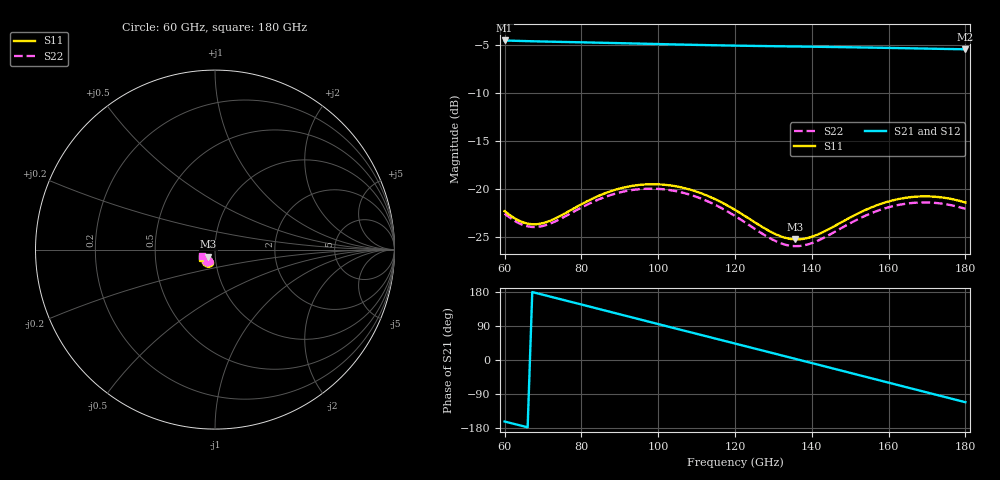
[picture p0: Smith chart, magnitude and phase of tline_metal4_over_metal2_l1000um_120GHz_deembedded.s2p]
! Created with skrf 2.0.1 (http://scikit-rf.org).
# GHz S DB R 50.0
!freq dBS11 angS11 dBS21 angS21 dBS12 angS12 dBS22 angS22
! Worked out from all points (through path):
!   101 points, 60 GHz to 180 GHz, reference 50 ohm
!   highest |S21| = -4.56 dB at 60 GHz (marker M1); lowest = -5.5 dB at 180 GHz (marker M2)
!   group delay of S21, straight-line fit = 7.16 ps
!   lowest |S11| = -25.3 dB at 135.6 GHz (marker M3), VSWR 1.12, Z = 46.3 - j3.74 ohm
!   |S11| at or under -10 dB: start of sweep to end of sweep
!   |S22| runs from -26.0 to -20.0 dB; largest |S21 - S12| = 9.6e-16
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60  -22.35 -121.0  -4.56 -162.4  -4.56 -162.4  -22.61 -121.7
64.8  -23.52 -113.8  -4.62 -174.6  -4.62 -174.6  -23.79 -114.6
68.4  -23.71 -106.9  -4.65 176.2  -4.65 176.2  -24.00 -107.9
74.4  -22.87 -99.0  -4.71 160.8  -4.71 160.8  -23.18 -100.3
80.4  -21.54 -98.5  -4.76 145.4  -4.76 145.4  -21.89 -100.2
86.4  -20.45 -103.3  -4.81 129.9  -4.81 129.9  -20.83 -105.3
91.2  -19.87 -109.2  -4.85 117.5  -4.85 117.5  -20.29 -111.4
96  -19.58 -116.0  -4.90 105.1  -4.90 105.1  -20.03 -118.5
100.8  -19.57 -123.1  -4.94 92.8  -4.94 92.8  -20.05 -125.9
105.6  -19.84 -130.0  -4.98 80.4  -4.98 80.4  -20.35 -133.1
110.4  -20.37 -136.4  -5.03 68.1  -5.03 68.1  -20.92 -139.7
120  -22.22 -144.9  -5.10 43.4  -5.10 43.4  -22.85 -148.6
128.4  -24.30 -143.0  -5.15 21.8  -5.15 21.8  -25.01 -146.8
135.6  -25.29 -132.3  -5.19 3.3  -5.19 3.3  -26.00 -135.8
140.4  -24.97 -124.3  -5.21 -9.1  -5.21 -9.1  -25.63 -127.9
150  -23.01 -118.5  -5.27 -33.9  -5.27 -33.9  -23.61 -122.9
156  -21.88 -121.4  -5.31 -49.5  -5.31 -49.5  -22.48 -126.4
160.8  -21.25 -125.8  -5.34 -61.9  -5.34 -61.9  -21.86 -131.2
165.6  -20.89 -131.1  -5.38 -74.3  -5.38 -74.3  -21.52 -137.0
170.4  -20.81 -136.8  -5.41 -86.7  -5.41 -86.7  -21.45 -143.1
175.2  -21.00 -142.4  -5.45 -99.0  -5.45 -99.0  -21.65 -149.1
180  -21.45 -147.5  -5.48 -111.4  -5.48 -111.4  -22.11 -154.5
